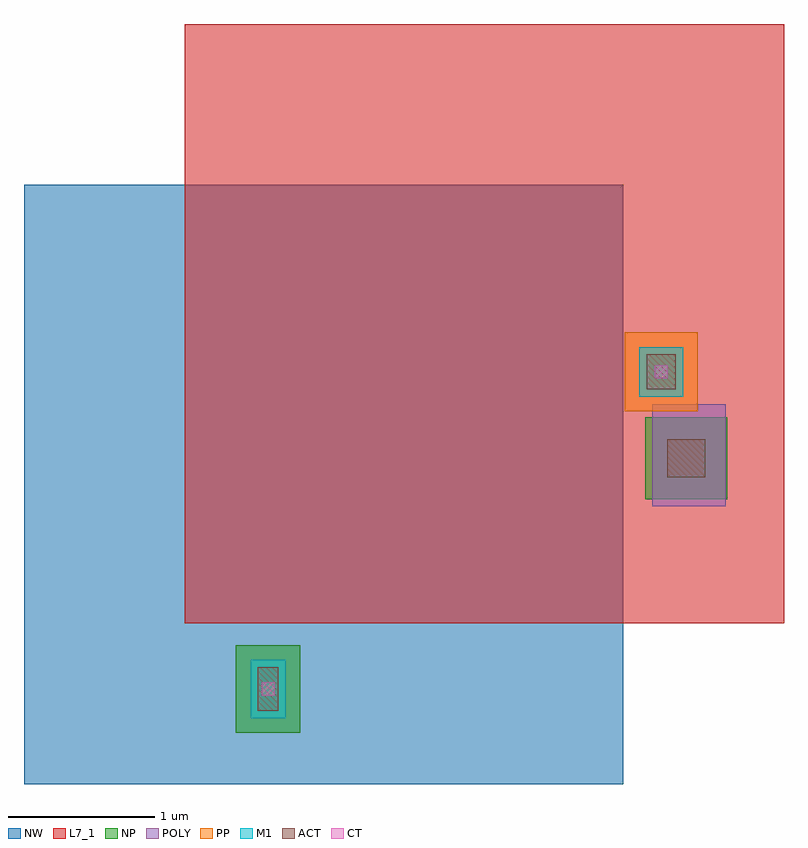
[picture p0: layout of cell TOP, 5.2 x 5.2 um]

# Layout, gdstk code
import gdstk
lib = gdstk.Library(unit=1e-6, precision=1e-09)
def R(c, l, rs):  # rectangles x0, y0, x1, y1
    for r in rs: c.add(gdstk.rectangle(r[:2], r[2:], *l))
ACT = (2, 1)
L7_1 = (7, 1)
NW = (9, 1)
POLY = (41, 1)
NP = (52, 1)
PP = (53, 1)
CT = (72, 1)
M1 = (81, 1)

top = lib.new_cell('TOP')
R(top, ACT, [(0.5,-0.6,0.64,-0.3), (3.3,1,3.56,1.26), (3.16,1.6,3.36,1.84)])
R(top, L7_1, [(0,0,4.1,4.1)])
R(top, NW, [(-1.1,-1.1,3,3)])
R(top, POLY, [(3.2,0.8,3.7,1.5)])
R(top, NP, [(0.35,-0.75,0.79,-0.15), (3.15,0.85,3.71,1.41)])
R(top, PP, [(3.01,1.45,3.51,1.99)])
R(top, CT, [(0.525,-0.495,0.615,-0.405), (3.215,1.675,3.305,1.765)])
R(top, M1, [(0.45,-0.65,0.69,-0.25), (3.11,1.55,3.41,1.89)])

lib.write_gds('TOP.gds')
